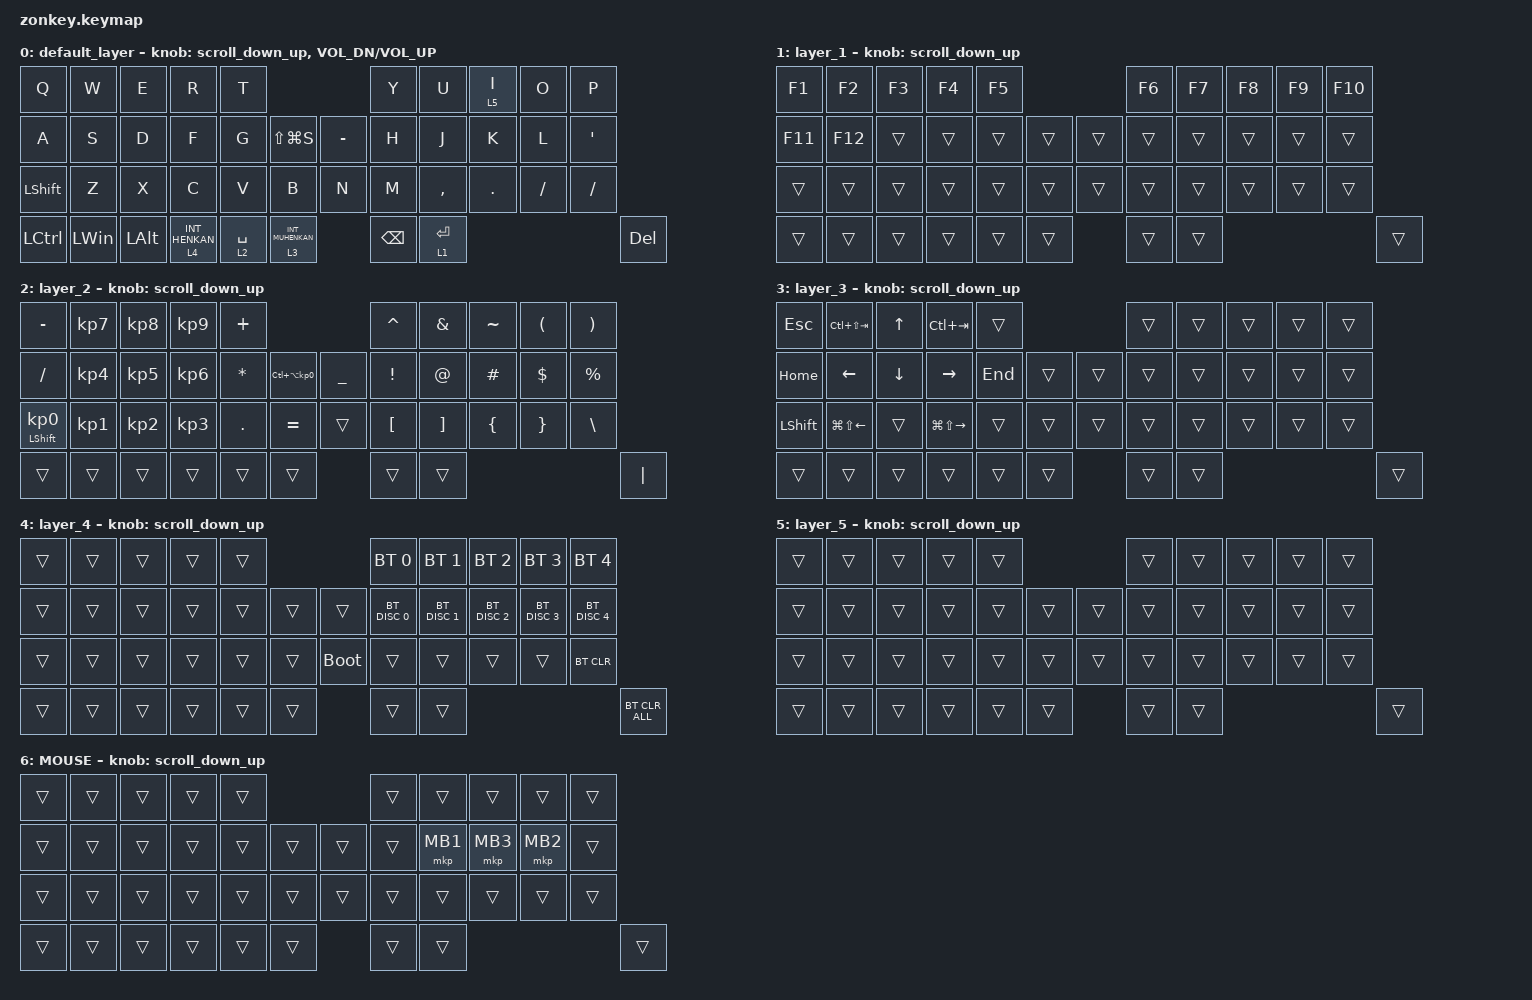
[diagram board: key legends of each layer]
#include <behaviors.dtsi>
#include <dt-bindings/zmk/bt.h>
#include <dt-bindings/zmk/keys.h>
#include <dt-bindings/zmk/pointing.h>

#define ZMK_POINTING_DEFAULT_SCRL_VAL 100
#define MOUSE 6

&mt {
    flavor = "balanced";
    quick-tap-ms = <0>;
};

/ {
    combos { compatible = "zmk,combos"; };

    macros {
        to_layer_0: to_layer_0 {
            compatible = "zmk,behavior-macro-one-param";
            #binding-cells = <1>;
            bindings = <&to 0 &macro_param_1to1 &kp MACRO_PLACEHOLDER>;
            label = "TO_LAYER_0";
        };
    };

    behaviors {
        lt_to_layer_0: lt_to_layer_0 {
            compatible = "zmk,behavior-hold-tap";
            label = "LAYER_TAP_TO_0";
            bindings = <&mo>, <&to_layer_0>;

            #binding-cells = <2>;
            tapping-term-ms = <200>;
        };

        scroll_down_up: behavior_sensor_rotate_mouse_wheel_down_up {
            compatible = "zmk,behavior-sensor-rotate";
            #sensor-binding-cells = <0>;
            bindings = <&msc SCRL_DOWN>, <&msc SCRL_UP>;

            tap-ms = <20>;
        };
    };

    keymap {
        compatible = "zmk,keymap";

        default_layer {
            bindings = <
&kp Q           &kp W         &kp E         &kp R             &kp T                                         &kp Y          &kp U        &lt 5 I     &kp O      &kp P
&kp A           &kp S         &kp D         &kp F             &kp G        &kp LS(LG(S))         &kp MINUS  &kp H          &kp J        &kp K       &kp L      &kp SQT
&kp LEFT_SHIFT  &kp Z         &kp X         &kp C             &kp V        &kp B                 &kp N      &kp M          &kp COMMA    &kp PERIOD  &kp SLASH  &kp SLASH
&kp LCTRL       &kp LEFT_WIN  &kp LEFT_ALT  &lt 4 INT_HENKAN  &lt 2 SPACE  &lt 3 INT_MUHENKAN               &kp BACKSPACE  &lt 1 ENTER                                    &kp DEL
            >;

            sensor-bindings =
                <&scroll_down_up>,
                <&inc_dec_kp C_VOL_DN C_VOL_UP>;
        };

        layer_1 {
            bindings = <
&kp F1   &kp F2   &kp F3  &kp F4  &kp F5                    &kp F6  &kp F7  &kp F8  &kp F9  &kp F10
&kp F11  &kp F12  &trans  &trans  &trans  &trans    &trans  &trans  &trans  &trans  &trans  &trans
&trans   &trans   &trans  &trans  &trans  &trans    &trans  &trans  &trans  &trans  &trans  &trans
&trans   &trans   &trans  &trans  &trans  &trans            &trans  &trans                           &trans
            >;

            sensor-bindings = <&scroll_down_up>;
        };

        layer_2 {
            bindings = <
&kp MINUS                   &kp KP_NUMBER_7  &kp KP_NUMBER_8  &kp KP_NUMBER_9  &kp PLUS                                                 &kp CARET         &kp AMPERSAND      &kp TILDE       &kp LEFT_PARENTHESIS  &kp RIGHT_PARENTHESIS
&kp SLASH                   &kp KP_NUMBER_4  &kp KP_NUMBER_5  &kp KP_NUMBER_6  &kp ASTERISK  &kp LC(LA(KP_NUMBER_0))    &kp UNDERSCORE  &kp EXCLAMATION   &kp AT_SIGN        &kp HASH        &kp DOLLAR            &kp PERCENT
&mt LEFT_SHIFT KP_NUMBER_0  &kp KP_NUMBER_1  &kp KP_NUMBER_2  &kp KP_NUMBER_3  &kp PERIOD    &kp EQUAL                  &trans          &kp LEFT_BRACKET  &kp RIGHT_BRACKET  &kp LEFT_BRACE  &kp RIGHT_BRACE       &kp BACKSLASH
&trans                      &trans           &trans           &trans           &trans        &trans                                     &trans            &trans                                                                          &kp PIPE
            >;

            sensor-bindings = <&scroll_down_up>;
        };

        layer_3 {
            bindings = <
&kp ESCAPE      &kp LC(LS(TAB))         &kp UP_ARROW    &kp LC(TAB)              &trans                     &trans  &trans  &trans  &trans  &trans
&kp HOME        &kp LEFT_ARROW          &kp DOWN_ARROW  &kp RIGHT_ARROW          &kp END  &trans    &trans  &trans  &trans  &trans  &trans  &trans
&kp LEFT_SHIFT  &kp LG(LS(LEFT_ARROW))  &trans          &kp LG(LS(RIGHT_ARROW))  &trans   &trans    &trans  &trans  &trans  &trans  &trans  &trans
&trans          &trans                  &trans          &trans                   &trans   &trans            &trans  &trans                          &trans
            >;

            sensor-bindings = <&scroll_down_up>;
        };

        layer_4 {
            bindings = <
&trans  &trans  &trans  &trans  &trans                         &bt BT_SEL 0   &bt BT_SEL 1   &bt BT_SEL 2   &bt BT_SEL 3   &bt BT_SEL 4
&trans  &trans  &trans  &trans  &trans  &trans    &trans       &bt BT_DISC 0  &bt BT_DISC 1  &bt BT_DISC 2  &bt BT_DISC 3  &bt BT_DISC 4
&trans  &trans  &trans  &trans  &trans  &trans    &bootloader  &trans         &trans         &trans         &trans         &bt BT_CLR
&trans  &trans  &trans  &trans  &trans  &trans                 &trans         &trans                                                      &bt BT_CLR_ALL
            >;

            sensor-bindings = <&scroll_down_up>;
        };

        layer_5 {
            bindings = <
&trans  &trans  &trans  &trans  &trans                    &trans  &trans  &trans  &trans  &trans
&trans  &trans  &trans  &trans  &trans  &trans    &trans  &trans  &trans  &trans  &trans  &trans
&trans  &trans  &trans  &trans  &trans  &trans    &trans  &trans  &trans  &trans  &trans  &trans
&trans  &trans  &trans  &trans  &trans  &trans            &trans  &trans                          &trans
            >;

            sensor-bindings = <&scroll_down_up>;
        };

        MOUSE {
            bindings = <
&trans  &trans  &trans  &trans  &trans                    &trans  &trans    &trans    &trans    &trans
&trans  &trans  &trans  &trans  &trans  &trans    &trans  &trans  &mkp MB1  &mkp MB3  &mkp MB2  &trans
&trans  &trans  &trans  &trans  &trans  &trans    &trans  &trans  &trans    &trans    &trans    &trans
&trans  &trans  &trans  &trans  &trans  &trans            &trans  &trans                                &trans
            >;

            sensor-bindings = <&scroll_down_up>;
        };
    };
};
